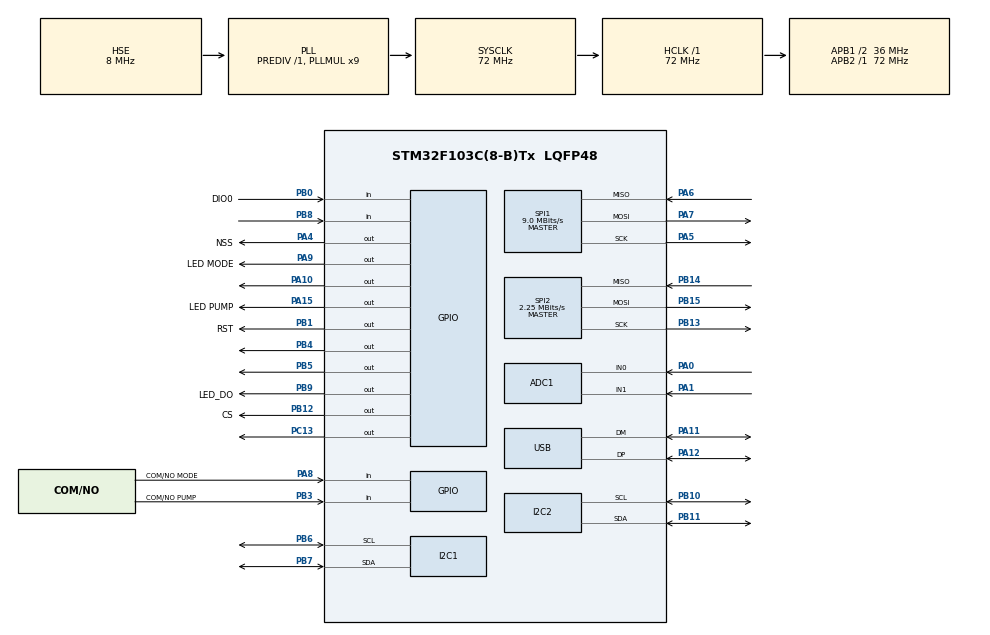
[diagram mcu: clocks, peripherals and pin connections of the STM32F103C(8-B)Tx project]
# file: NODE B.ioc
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ADC1.Channel-1\#ChannelRegularConversion=ADC_CHANNEL_0
ADC1.ContinuousConvMode=ENABLE
ADC1.NbrOfConversionFlag=1
ADC1.Rank-1\#ChannelRegularConversion=1
ADC1.SamplingTime-1\#ChannelRegularConversion=ADC_SAMPLETIME_1CYCLE_5
ADC1.master=1
Mcu.Family=STM32F1
Mcu.Name=STM32F103C(8-B)Tx
Mcu.Package=LQFP48
NVIC.PriorityGroup=NVIC_PRIORITYGROUP_4
NVIC.USB_LP_CAN1_RX0_IRQn=true\:0\:0\:false\:false\:true\:false\:true\:true
PA0-WKUP.Signal=ADCx_IN0
PA1.Signal=ADCx_IN1
PA10.Signal=GPIO_Output
PA11.Mode=Device
PA11.Signal=USB_DM
PA12.Mode=Device
PA12.Signal=USB_DP
PA13.Mode=Serial_Wire
PA13.Signal=SYS_JTMS-SWDIO
PA14.Mode=Serial_Wire
PA14.Signal=SYS_JTCK-SWCLK
PA15.GPIO_Label=LED PUMP
PA15.PinState=GPIO_PIN_SET
PA15.Signal=GPIO_Output
PA4.GPIO_Label=NSS
PA4.PinState=GPIO_PIN_SET
PA4.Signal=GPIO_Output
PA5.Mode=Full_Duplex_Master
PA5.Signal=SPI1_SCK
PA6.Mode=Full_Duplex_Master
PA6.Signal=SPI1_MISO
PA7.Mode=Full_Duplex_Master
PA7.Signal=SPI1_MOSI
PA8.GPIO_Label=COM/NO MODE
PA8.GPIO_PuPd=GPIO_PULLUP
PA8.Signal=GPIO_Input
PA9.GPIO_Label=LED MODE
PA9.PinState=GPIO_PIN_SET
PA9.Signal=GPIO_Output
PB0.GPIO_Label=DIO0
PB0.GPIO_PuPd=GPIO_PULLDOWN
PB0.Signal=GPIO_Input
PB1.GPIO_Label=RST
PB1.GPIO_Speed=GPIO_SPEED_FREQ_LOW
PB1.PinState=GPIO_PIN_SET
PB1.Signal=GPIO_Output
PB10.Mode=I2C
PB10.Signal=I2C2_SCL
PB11.Mode=I2C
PB11.Signal=I2C2_SDA
PB12.GPIO_Label=CS
PB12.GPIO_Speed=GPIO_SPEED_FREQ_HIGH
PB12.PinState=GPIO_PIN_SET
PB12.Signal=GPIO_Output
PB13.Mode=Full_Duplex_Master
PB13.Signal=SPI2_SCK
PB14.Mode=Full_Duplex_Master
PB14.Signal=SPI2_MISO
PB15.Mode=Full_Duplex_Master
PB15.Signal=SPI2_MOSI
PB3.GPIO_Label=COM/NO PUMP
PB3.GPIO_PuPd=GPIO_PULLUP
PB3.Signal=GPIO_Input
PB4.Signal=GPIO_Output
PB5.PinState=GPIO_PIN_SET
PB5.Signal=GPIO_Output
PB6.Mode=I2C
PB6.Signal=I2C1_SCL
PB7.Mode=I2C
PB7.Signal=I2C1_SDA
PB8.GPIO_PuPd=GPIO_PULLUP
PB8.Signal=GPIO_Input
PB9.GPIO_Label=LED_DO
PB9.Signal=GPIO_Output
PC13-TAMPER-RTC.PinState=GPIO_PIN_SET
PC13-TAMPER-RTC.Signal=GPIO_Output
PC14-OSC32_IN.Mode=LSE-External-Oscillator
PC14-OSC32_IN.Signal=RCC_OSC32_IN
PC15-OSC32_OUT.Mode=LSE-External-Oscillator
PC15-OSC32_OUT.Signal=RCC_OSC32_OUT
PD0-OSC_IN.Mode=HSE-External-Oscillator
PD0-OSC_IN.Signal=RCC_OSC_IN
PD1-OSC_OUT.Mode=HSE-External-Oscillator
PD1-OSC_OUT.Signal=RCC_OSC_OUT
ProjectManager.HeapSize=0x200
ProjectManager.StackSize=0x400
ProjectManager.TargetToolchain=MDK-ARM V5.32
RCC.ADCPresc=RCC_ADCPCLK2_DIV6
RCC.AHBFreq_Value=72000000
RCC.APB1CLKDivider=RCC_HCLK_DIV2
RCC.APB1Freq_Value=36000000
RCC.APB1TimFreq_Value=72000000
RCC.APB2Freq_Value=72000000
RCC.APB2TimFreq_Value=72000000
RCC.HCLKFreq_Value=72000000
RCC.PLLMUL=RCC_PLL_MUL9
RCC.SYSCLKFreq_VALUE=72000000
RCC.SYSCLKSource=RCC_SYSCLKSOURCE_PLLCLK
RCC.USBFreq_Value=48000000
RCC.USBPrescaler=RCC_USBCLKSOURCE_PLL_DIV1_5
SH.ADCx_IN0.0=ADC1_IN0,IN0
SH.ADCx_IN1.0=ADC1_IN1,IN1
SPI1.BaudRatePrescaler=SPI_BAUDRATEPRESCALER_8
SPI1.CalculateBaudRate=9.0 MBits/s
SPI1.Direction=SPI_DIRECTION_2LINES
SPI1.Mode=SPI_MODE_MASTER
SPI1.VirtualType=VM_MASTER
SPI2.BaudRatePrescaler=SPI_BAUDRATEPRESCALER_16
SPI2.CalculateBaudRate=2.25 MBits/s
SPI2.Direction=SPI_DIRECTION_2LINES
SPI2.Mode=SPI_MODE_MASTER
SPI2.VirtualType=VM_MASTER
USB_DEVICE.CLASS_NAME_FS=CDC
USB_DEVICE.PRODUCT_STRING_CDC_FS=STM32 Virtual Port
USB_DEVICE.VirtualMode=Cdc
USB_DEVICE.VirtualModeFS=Cdc_FS
VP_RTC_VS_RTC_Activate.Mode=RTC_Enabled
VP_RTC_VS_RTC_Calendar.Mode=RTC_Calendar
VP_USB_DEVICE_VS_USB_DEVICE_CDC_FS.Mode=CDC_FS
board=custom

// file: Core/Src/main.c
/* USER CODE BEGIN Header */
/**
  ******************************************************************************
  * @file           : main.c
  * @brief          : Main program body (Node B, DS3231 @ I2C2, Rain LED @ PB9)
  ******************************************************************************
  * H/W:
  *  - Soil AO  : PA0 (ADC1_IN0)
  *  - Rain AO  : PA1 (ADC1_IN1)
  *  - DHT11    : PB8 (DATA)
  *  - Relay    : PB5 (active-HIGH)
  *  - LED_W    : PB4 (active-HIGH)
  *  - LED_R    : PB9 (active-HIGH)
  *  - TX LED   : PC13 (active-LOW)
  *  - LoRa SX1278: SPI1 (PA5/6/7, PA4 CS), PB1 RESET, PB0 DIO0
  *  - LCD I2C1 : PB6 SCL, PB7 SDA
  *  - DS3231   : I2C2 PB10 SCL2, PB11 SDA2
  *  - USB CDC  : PA11/PA12
  ******************************************************************************
  */
/* USER CODE END Header */

#include "main.h"
#include "adc.h"
#include "i2c.h"
#include "rtc.h"
#include "spi.h"
#include "usb_device.h"
#include "gpio.h"

/* USER CODE BEGIN Includes */
#include "usbd_cdc_if.h"
#include "usbd_cdc.h"
extern USBD_HandleTypeDef hUsbDeviceFS;

#include "DHT.h"
#include "i2c-lcd.h"
#include "LoRa.h"

#include "W25Qxx.h"
#include "flashlog.h"
#include "uplink_patch.h"

#include <stdio.h>
#include <string.h>
#include <math.h>
#include <stdbool.h>
#include <stdint.h>
#include <stdlib.h>
#include <time.h>
/* USER CODE END Includes */

/* USER CODE BEGIN PTD */
typedef enum { ST_IDLE=0, ST_WATERING, ST_COOLDOWN, ST_RAIN_LOCK } state_t;
/* USER CODE END PTD */

/* USER CODE BEGIN PD */

/* ================== NODE IDENT ================== */
#define NODE_ID_STR   "B"   /* Node B */

/*** ACK & RTC options ***/
#ifndef ACK_ENABLE
#define ACK_ENABLE         1
#endif
#ifndef ACK_WINDOW_MS
#define ACK_WINDOW_MS      1500
#endif

/* vao RX som hon sau TX (giam miss ACK) */
#ifndef ACK_GUARD_MS
#define ACK_GUARD_MS       10
#endif

/* gap sau TX (giam chiem kenh qua lau) */
#ifndef TX_POST_GAP_MS
#define TX_POST_GAP_MS     600
#endif

/* Timestamp source */
#define USE_DS3231_TS      1
#define DS3231_I2C_ADDR7   0x68
#define DS3231_HOLDS_LOCAL 1
#ifndef USE_RTC_TS
#define USE_RTC_TS         1
#endif

/* DS3231 giu gio VN local -> epoch_utc tru 7h */
#ifndef TZ_OFFSET_SECS
#define TZ_OFFSET_SECS     (7*3600)
#endif

#ifndef INIT_RTC_ONCE
#define INIT_RTC_ONCE      0
#endif

/* ---- Set DS3231 once (safe) ---- */
#define SET_DS3231_ONCE      1
#define DS3231_INIT_Y        2025
#define DS3231_INIT_M        11
#define DS3231_INIT_D        10
#define DS3231_INIT_H        00
#define DS3231_INIT_MIN      59
#define DS3231_INIT_S        00
#define DS3231_BKP_MAGIC     0xD321

/*** Thresholds & timings ***/
#define SOIL_ON_TH            30
#define SOIL_OFF_TH           40
#define RH_BLOCK_TH           95

#define RAIN_LOCK_MIN         1
#define SOAK_ON_MIN           1
#define SOAK_OFF_MIN          1
#define COOLDOWN_MIN          1
#define MAX_ON_TIME_MIN       2

/*** ADC channels ***/
#define SOIL_ADC_CH    ADC_CHANNEL_0   // PA0
#define RAIN_ADC_CH    ADC_CHANNEL_1   // PA1

/*** ADC mapping ***/
#define SOIL_ADC_DRY   0x0F44
#define SOIL_ADC_WET   0x07F7
#define SOIL_SMOOTH_N  8

#define RAIN_ADC_DRY   0x0F90
#define RAIN_ADC_WET   0x0679
#define RAIN_SMOOTH_N  4
#define RAIN_SAMPLE_MS 100
#define RAIN_WET_THR_PCT 55
#define RAIN_DEB_TICKS   3

/*** GPIO helpers (REL/LED) ***/
#define RELAY_GPIO_Port GPIOB
#define RELAY_Pin       GPIO_PIN_5
#define RELAY_ON()      HAL_GPIO_WritePin(RELAY_GPIO_Port, RELAY_Pin, GPIO_PIN_SET)
#define RELAY_OFF()     HAL_GPIO_WritePin(RELAY_GPIO_Port, RELAY_Pin, GPIO_PIN_RESET)

#define LEDW_Port GPIOB
#define LEDW_Pin  GPIO_PIN_4
#define LEDR_Port GPIOB
#define LEDR_Pin  GPIO_PIN_9
#define LEDW_ON()  HAL_GPIO_WritePin(LEDW_Port, LEDW_Pin, GPIO_PIN_SET)
#define LEDW_OFF() HAL_GPIO_WritePin(LEDW_Port, LEDW_Pin, GPIO_PIN_RESET)
#define LEDR_ON()  HAL_GPIO_WritePin(LEDR_Port, LEDR_Pin, GPIO_PIN_SET)
#define LEDR_OFF() HAL_GPIO_WritePin(LEDR_Port, LEDR_Pin, GPIO_PIN_RESET)

/*** TX LED (PC13 active-LOW) ***/
#define TXLED_Port GPIOC
#define TXLED_Pin  GPIO_PIN_13
#define TXLED_ON()  HAL_GPIO_WritePin(TXLED_Port, TXLED_Pin, GPIO_PIN_RESET)
#define TXLED_OFF() HAL_GPIO_WritePin(TXLED_Port, TXLED_Pin, GPIO_PIN_SET)

/*** LoRa pins ***/
extern SPI_HandleTypeDef hspi1;
extern SPI_HandleTypeDef hspi2;

#define TRANSMIT_TIMEOUT 2000

/*** LCD EPS ***/
#define EPS_SOIL  1.0f
#define EPS_RAIN  5.0f
#define EPS_TEMP  0.5f
#define EPS_RH    2.0f

/*** Heartbeat ***/
#define HEARTBEAT_MS 4000u

/* jitter tranh trung nhip */
#define HEARTBEAT_JITTER_MS  400u

/* Policy */
#define ONLY_TX_ON_CHANGE   0

/* Debug periods */
#define DEBUG_RAW_EVERY_MS  0
#define FLASHDBG_HEAD_SUMMARY_EVERY_MS 0

/* -------- Buttons (active-LOW) -------- */
#define BTN_MODE_Port  GPIOA
#define BTN_MODE_Pin   GPIO_PIN_8
#define BTN_PUMP_Port  GPIOB
#define BTN_PUMP_Pin   GPIO_PIN_3
static inline uint8_t BTN_MODE_PRESSED(void){ return HAL_GPIO_ReadPin(BTN_MODE_Port, BTN_MODE_Pin) == GPIO_PIN_RESET; }
static inline uint8_t BTN_PUMP_PRESSED(void){ return HAL_GPIO_ReadPin(BTN_PUMP_Port, BTN_PUMP_Pin) == GPIO_PIN_RESET; }

/* -------- Status LEDs (active-LOW) -------- */
#define LED_MODE_Port  GPIOA
#define LED_MODE_Pin   GPIO_PIN_9
#define LED_PUMP_Port  GPIOA
#define LED_PUMP_Pin   GPIO_PIN_15
#define LED_MODE_ON()   HAL_GPIO_WritePin(LED_MODE_Port, LED_MODE_Pin, GPIO_PIN_RESET)
#define LED_MODE_OFF()  HAL_GPIO_WritePin(LED_MODE_Port, LED_MODE_Pin, GPIO_PIN_SET)
#define LED_PUMP_ON()   HAL_GPIO_WritePin(LED_PUMP_Port, LED_PUMP_Pin, GPIO_PIN_RESET)
#define LED_PUMP_OFF()  HAL_GPIO_WritePin(LED_PUMP_Port, LED_PUMP_Pin, GPIO_PIN_SET)

/* USER CODE END PD */

/* USER CODE BEGIN PM */
#define MIN_TO_MS(x) ((x) * 60UL * 1000UL)
static inline uint32_t now_ms(void){ return HAL_GetTick(); }

/* ============ LECH PHA NODE B (KHAC NODE A) ============ */
/* offset 900..2900ms theo UID => Node B khong phat trung nhip voi Node A */
static inline uint32_t hb_phase_offset_ms(void){
  uint32_t uid = (uint32_t)HAL_GetUIDw0() ^ (uint32_t)HAL_GetUIDw1() ^ (uint32_t)HAL_GetUIDw2();
  return 900u + (uid % 2000u);
}
/* USER CODE END PM */

/* USER CODE BEGIN PV */
static volatile state_t state = ST_IDLE;
static state_t state_prev = ST_IDLE;

static volatile uint32_t t_onStart=0, t_coolStart=0, t_rainStart=0;
static const uint32_t RAIN_LOCK_MS   = MIN_TO_MS(RAIN_LOCK_MIN);
static const uint32_t SOAK_ON_MS     = MIN_TO_MS(SOAK_ON_MIN);
static const uint32_t SOAK_OFF_MS    = MIN_TO_MS(SOAK_OFF_MIN);
static const uint32_t COOLDOWN_MS    = MIN_TO_MS(COOLDOWN_MIN);
static const uint32_t MAX_ON_TIME_MS = MIN_TO_MS(MAX_ON_TIME_MIN);

static volatile float   g_soil_percent=NAN, g_rain_percent=NAN, g_temp_c=NAN, g_rh=NAN;
static volatile uint8_t g_rain=0, dht_fault=0;
static volatile int8_t  rain_integrator=0;

static char  lcd_cache[4][21];
static float prev_soil=NAN, prev_rainpct=NAN, prev_t=NAN, prev_rh=NAN;
static int   prev_pump=-1;

typedef struct { uint8_t left; uint16_t on_ms, off_ms; uint8_t phase_on; uint32_t t; } blink_t;
static blink_t txblink = {0};

static LoRa lora;
static volatile uint32_t seq = 0, tx_count = 0;
static volatile uint32_t next_hb_due = 0;

static float   snap_soil=NAN, snap_rainpct=NAN, snap_t=NAN, snap_rh=NAN;
static int     snap_rain=-1, snap_pump=-1, snap_dht=-1;

static uint32_t rng_state = 0x12345678;

static char json_no_crc[208];

static volatile uint32_t t_rain_last = 0;
static volatile uint32_t t_meas_last = 0;

#if DEBUG_RAW_EVERY_MS > 0
static uint32_t t_dbg_last  = 0;
#endif
#if FLASHDBG_HEAD_SUMMARY_EVERY_MS > 0
static uint32_t t_flash_head_dbg_last = 0;
#endif

static volatile uint16_t dbg_soil_adc = 0;
static volatile uint16_t dbg_rain_adc = 0;

static uint32_t g_w25_id = 0;
static uint8_t g_sync_word = 0x34;

extern I2C_HandleTypeDef hi2c2;

/* ===================== TX MANAGER (NON-BLOCKING) ===================== */
#define TX_ITEM_MAX   240
#define TXQ_SIZE      6

typedef struct {
  uint8_t  used;
  uint8_t  from_flash;      // 1: replay tu flash
  uint8_t  log_type;        // LOG_TYPE_DATA / LOG_TYPE_EVENT
  uint32_t ts_meta;
  uint32_t seq_expected;
  uint16_t len;
  char     buf[TX_ITEM_MAX];
} tx_item_t;

static tx_item_t txq[TXQ_SIZE];
static uint8_t txq_head=0, txq_tail=0, txq_cnt=0;

typedef enum { TXS_IDLE=0, TXS_WAIT_GUARD, TXS_WAIT_ACK, TXS_COOLDOWN } tx_state_t;
static tx_state_t txs = TXS_IDLE;

static tx_item_t cur_tx;
static uint32_t  tx_guard_until = 0;
static uint32_t  tx_ack_deadline = 0;
static uint32_t  tx_cool_until = 0;

/* Replay backoff neu fail */
static uint32_t  replay_backoff_until = 0;

/* Control mode */
typedef enum { MODE_AUTO = 0, MODE_MANUAL = 1 } ctrl_mode_t;
static volatile ctrl_mode_t g_mode = MODE_AUTO;
static volatile uint32_t    t_last_cmd_ms = 0;
#define MANUAL_TIMEOUT_MS   (60u * 1000u)

/* USER CODE END PV */

void SystemClock_Config(void);

/* USER CODE BEGIN PFP */
static uint32_t rtc_epoch_utc(void);
static int      json_extract_int(const char* json, const char* key, int defval);
static void     RTC_SetOnce_IfNeeded(void);

static inline uint8_t bcd2bin(uint8_t x){ return (uint8_t)(x - 6*(x>>4)); }
static inline uint8_t bin2bcd(uint8_t x){ return (uint8_t)(x + 6*(x/10)); }
static HAL_StatusTypeDef ds3231_read_regs(uint8_t reg, uint8_t *dst, uint8_t len);
static HAL_StatusTypeDef ds3231_write_regs(uint8_t reg, const uint8_t *src, uint8_t len);
static int ds3231_get_tm(struct tm *out);
static int ds3231_set_tm(const struct tm *t);
static int ds3231_read_status(uint8_t *st);
static void ds3231_clear_osf(void);
static void DS3231_SetOnce_Safe(void);

static uint32_t days_from_civil(int y, unsigned m, unsigned d);
static uint32_t tm_to_epoch_utc(const struct tm* t);

static void civil_from_days(int z, int *y, unsigned *m, unsigned *d);
static void iso_from_tm_local(const struct tm* t, char *out, size_t n);

static void cdc_send_line(const char* s);
static uint16_t crc16_ccitt(const uint8_t *data, size_t len);

static uint16_t adc_read_single(uint32_t ch);
static uint16_t adc_read_avg(uint32_t ch, int n);
static float soil_adc_to_percent(uint16_t adc);
static float rain_adc_to_wetpct(uint16_t adc);
static void  update_rain_adc_debounce(void);
static void  update_soil_and_dht(void);

static inline void pad20(char* dst, const char* src);
static inline void center20(char* dst, const char* src);
static inline void lcd_put_line_if_changed(uint8_t row, const char* s20);
static int  changed_enough(void);
static inline void snapshot_prev(void);
static void lcd_boot(void);
static void lcd_show(void);
static void dot_to_comma(char* s);

static void txled_start(uint8_t times, uint16_t on_ms, uint16_t off_ms);
static void txled_task(void);

static void lora_init_params(void);
static void send_meas_request(bool forced);
static void send_event_request(const char* ev);
static inline void snapshot_meas(void);
static inline int  changed_for_meas(void);
static void heartbeat_kick_task(void);

static uint8_t rh_allows_watering(void);
static void fsm_step(void);

static uint32_t rng_next(void);

static void diag_dump_raw(void);

static const char* log_type_str(uint8_t type);
static void flash_debug_head_once(void);

static const char* sf_to_str(uint8_t sf);
static const char* bw_to_str(uint8_t bw);
static const char* cr_to_str(uint8_t cr);
static void        log_rf_config(void);

static void apply_cmd_from_ack(const char* json);

static void buttons_task(void);
static void leds_update(void);

static uint8_t txq_push(const char* payload, uint16_t len, uint32_t seq_expected,
                        uint32_t ts_meta, uint8_t log_type, uint8_t from_flash);
static uint8_t txq_pop(tx_item_t* out);
static uint8_t txq_is_full(void);
static uint8_t txq_is_empty(void);

static void tx_start_current(const tx_item_t* it);
static void tx_finish_success(void);
static void tx_finish_fail(void);
static void tx_task(void);
static uint8_t tx_handle_rx_and_check_ack(uint32_t expected_seq);
/* USER CODE END PFP */

/* USER CODE BEGIN 0 */

static void cdc_send_line(const char* s){
  if(!s) return;
  static char buf[256];
  int n = snprintf(buf, sizeof(buf), "%s\r\n", s);
  if(n <= 0) return;

  uint32_t t0 = HAL_GetTick();
  while (HAL_GetTick() - t0 < 50) {
    if (CDC_Transmit_FS((uint8_t*)buf, (uint16_t)n) == USBD_OK) {
      USBD_CDC_HandleTypeDef *hcdc =
        (USBD_CDC_HandleTypeDef*)hUsbDeviceFS.pClassData;

      if (hcdc) {
        uint32_t t1 = HAL_GetTick();
        while (hcdc->TxState && (HAL_GetTick() - t1) < 20) { }
      }
      break;
    }
    HAL_Delay(2);
  }
}

static uint16_t crc16_ccitt(const uint8_t *data, size_t len){
  uint16_t crc = 0xFFFF;
  for(size_t i=0;i<len;i++){
    crc ^= (uint16_t)data[i] << 8;
    for(int b=0;b<8;b++) crc = (crc & 0x8000) ? (uint16_t)((crc<<1) ^ 0x1021) : (uint16_t)(crc<<1);
  }
  return crc;
}

/*** DS3231 over I2C2 ***/
static HAL_StatusTypeDef ds3231_read_regs(uint8_t reg, uint8_t *dst, uint8_t len){
  uint16_t a = (DS3231_I2C_ADDR7 << 1);
  if (HAL_I2C_Master_Transmit(&hi2c2, a, &reg, 1, 50) != HAL_OK) return HAL_ERROR;
  if (HAL_I2C_Master_Receive(&hi2c2, a, dst, len, 50) != HAL_OK)  return HAL_ERROR;
  return HAL_OK;
}
static HAL_StatusTypeDef ds3231_write_regs(uint8_t reg, const uint8_t *src, uint8_t len){
  uint16_t a = (DS3231_I2C_ADDR7 << 1);
  uint8_t buf[16];
  if (len + 1 > sizeof(buf)) return HAL_ERROR;
  buf[0] = reg;
  memcpy(&buf[1], src, len);
  return HAL_I2C_Master_Transmit(&hi2c2, a, buf, len+1, 50);
}
static int ds3231_get_tm(struct tm *out){
  uint8_t b[7];
  if (ds3231_read_regs(0x00, b, 7) != HAL_OK) return 0;
  memset(out, 0, sizeof(*out));
  out->tm_sec  = bcd2bin(b[0] & 0x7F);
  out->tm_min  = bcd2bin(b[1] & 0x7F);
  out->tm_hour = bcd2bin(b[2] & 0x3F);
  out->tm_mday = bcd2bin(b[4] & 0x3F);
  out->tm_mon  = bcd2bin(b[5] & 0x1F) - 1;
  out->tm_year = bcd2bin(b[6]) + 100;
  return 1;
}
static int ds3231_set_tm(const struct tm *t){
  uint8_t b[7];
  b[0] = bin2bcd((uint8_t)t->tm_sec);
  b[1] = bin2bcd((uint8_t)t->tm_min);
  b[2] = bin2bcd((uint8_t)t->tm_hour) & 0x3F;
  b[3] = 1;
  b[4] = bin2bcd((uint8_t)t->tm_mday);
  b[5] = bin2bcd((uint8_t)(t->tm_mon + 1));
  b[6] = bin2bcd((uint8_t)((t->tm_year + 1900) - 2000));
  return (ds3231_write_regs(0x00, b, 7) == HAL_OK) ? 1 : 0;
}

static int ds3231_read_status(uint8_t *st){
  return (ds3231_read_regs(0x0F, st, 1) == HAL_OK) ? 1 : 0;
}
static void ds3231_clear_osf(void){
  uint8_t st;
  if (!ds3231_read_status(&st)) return;
  st &= ~(1u<<7);
  (void)ds3231_write_regs(0x0F, &st, 1);
}

static void DS3231_SetOnce_Safe(void){
#if SET_DS3231_ONCE
  uint16_t bkp = HAL_RTCEx_BKUPRead(&hrtc, RTC_BKP_DR2);

  struct tm now; int have = ds3231_get_tm(&now);
  int year = have ? (1900 + now.tm_year) : 0;

  uint8_t st = 0; int have_st = ds3231_read_status(&st);
  int osf = (have_st && (st & 0x80)) ? 1 : 0;

  int need_set = 0;
  if (!have || year < 2024) need_set = 1;
  if (osf) need_set = 1;

  if (need_set){
    struct tm t = {0};
    t.tm_year = DS3231_INIT_Y - 1900;
    t.tm_mon  = DS3231_INIT_M - 1;
    t.tm_mday = DS3231_INIT_D;
    t.tm_hour = DS3231_INIT_H;
    t.tm_min  = DS3231_INIT_MIN;
    t.tm_sec  = DS3231_INIT_S;

    if (ds3231_set_tm(&t)) {
      ds3231_clear_osf();
      HAL_RTCEx_BKUPWrite(&hrtc, RTC_BKP_DR2, DS3231_BKP_MAGIC);
      cdc_send_line("DS3231 set OK (safe).");
    } else {
      cdc_send_line("DS3231 set FAIL!");
    }
  } else {
    if (bkp != DS3231_BKP_MAGIC)
      HAL_RTCEx_BKUPWrite(&hrtc, RTC_BKP_DR2, DS3231_BKP_MAGIC);
    cdc_send_line("DS3231 keep existing.");
  }
#else
  (void)ds3231_clear_osf;
#endif
}

/*** ADC utils & mapping ***/
static uint16_t adc_read_single(uint32_t ch){
  ADC_ChannelConfTypeDef s={0};
  s.Channel=ch; s.Rank=ADC_REGULAR_RANK_1; s.SamplingTime=ADC_SAMPLETIME_71CYCLES_5;
  HAL_ADC_ConfigChannel(&hadc1,&s);
  HAL_ADC_Start(&hadc1); HAL_ADC_PollForConversion(&hadc1,10);
  uint16_t v=HAL_ADC_GetValue(&hadc1);
  HAL_ADC_Stop(&hadc1); return v;
}
static uint16_t adc_read_avg(uint32_t ch, int n){
  uint32_t acc=0; for(int i=0;i<n;i++) acc+=adc_read_single(ch);
  return (uint16_t)(acc/n);
}
static float soil_adc_to_percent(uint16_t adc){
  float den = (float)SOIL_ADC_DRY - (float)SOIL_ADC_WET;
  if (den <= 0.0f) return NAN;
  float pct = ((float)SOIL_ADC_DRY - (float)adc) * 100.0f / den;
  if (pct < 0.0f)   pct = 0.0f;
  if (pct > 100.0f) pct = 100.0f;
  return pct;
}
static float rain_adc_to_wetpct(uint16_t adc){
  float num=(float)adc-(float)RAIN_ADC_WET, den=(float)RAIN_ADC_DRY-(float)RAIN_ADC_WET;
  if(den==0) return NAN;
  float pct_dry=100.0f*num/den; float pct_wet=100.0f-pct_dry;
  if(pct_wet<0)pct_wet=0; if(pct_wet>100)pct_wet=100; return pct_wet;
}
static void update_rain_adc_debounce(void){
  uint16_t adc = adc_read_avg(RAIN_ADC_CH, RAIN_SMOOTH_N);
  dbg_rain_adc = adc;
  g_rain_percent = rain_adc_to_wetpct(adc);
  uint8_t wet_now = (!isnan(g_rain_percent) && g_rain_percent >= RAIN_WET_THR_PCT) ? 1 : 0;
  rain_integrator += wet_now ? 1 : -1;
  if(rain_integrator<0) rain_integrator=0;
  if(rain_integrator>RAIN_DEB_TICKS) rain_integrator=RAIN_DEB_TICKS;
  g_rain = (rain_integrator >= RAIN_DEB_TICKS) ? 1 : 0;
}
static void update_soil_and_dht(void){
  uint16_t rs = adc_read_avg(SOIL_ADC_CH, SOIL_SMOOTH_N);
  dbg_soil_adc = rs;
  g_soil_percent = soil_adc_to_percent(rs);

  DHT_DataTypedef d = (DHT_DataTypedef){0};
  DHT_GetData(&d);
  if (d.Temperature==0 && d.Humidity==0) dht_fault = 1;
  else { dht_fault = 0; g_temp_c = d.Temperature; g_rh = d.Humidity; }
}

/*** LCD helpers ***/
static inline void pad20(char* dst, const char* src){
  size_t n = strlen(src); if(n>20) n=20; memcpy(dst, src, n);
  for(size_t i=n;i<20;i++) dst[i]=' '; dst[20]='\0';
}
static inline void center20(char* dst, const char* src){
  size_t n = strlen(src); if(n>20) n=20;
  size_t left = (20 - n)/2;
  for(size_t i=0;i<left;i++) dst[i]=' ';
  memcpy(dst+left, src, n);
  for(size_t j=left+n;j<20;j++) dst[j]=' ';
  dst[20]='\0';
}
static inline void lcd_put_line_if_changed(uint8_t row, const char* s20){
  if (strncmp(lcd_cache[row], s20, 20) != 0){
    lcd_put_cur(row,0); lcd_send_string(s20);
    strncpy(lcd_cache[row], s20, 20); lcd_cache[row][20]='\0';
  }
}
static int changed_enough(void){
  int ch=0;
  if(isnan(prev_soil) || fabsf(g_soil_percent - prev_soil) > EPS_SOIL) ch=1;
  if(isnan(prev_rainpct) || fabsf(g_rain_percent - prev_rainpct) > EPS_RAIN) ch=1;
  if(!dht_fault){
    if(isnan(prev_t)  || fabsf(g_temp_c - prev_t) > EPS_TEMP) ch=1;
    if(isnan(prev_rh) || fabsf(g_rh - prev_rh)     > EPS_RH)  ch=1;
  }
  if(state_prev != state) ch=1;
  int pump = (state==ST_WATERING);
  if(prev_pump != pump) ch=1;
  return ch;
}
static inline void snapshot_prev(void){
  prev_soil = g_soil_percent; prev_rainpct = g_rain_percent;
  prev_t = g_temp_c; prev_rh = g_rh; prev_pump = (state==ST_WATERING);
  state_prev = state;
}
static void dot_to_comma(char* s){ for(char* p=s; *p; ++p) if(*p=='.') *p=','; }
static void lcd_boot(void){
  lcd_init();
  HAL_Delay(30);
  lcd_clear();
  lcd_put_cur(0,0); lcd_send_string("NODE B - IRRIGATION");
  lcd_put_cur(1,0); lcd_send_string("Booting...");
}
static void lcd_show(void){
  char tmp[48], ln20[21];

  center20(ln20, "NODE B"); lcd_put_line_if_changed(0, ln20);

  snprintf(tmp,sizeof(tmp),"S:%5.2f%%  R:%5.2f%%",
           isnan(g_soil_percent)?0.0f:g_soil_percent,
           isnan(g_rain_percent)?0.0f:g_rain_percent);
  dot_to_comma(tmp); pad20(ln20,tmp); lcd_put_line_if_changed(1, ln20);

  if(!dht_fault) {
    snprintf(tmp,sizeof(tmp),"T:%5.2fC RH:%5.2f%%",
             isnan(g_temp_c)?0.0f:g_temp_c,
             isnan(g_rh)?0.0f:g_rh);
    dot_to_comma(tmp);
  } else {
    strcpy(tmp,"T/RH: -- (DHT ERR)  ");
  }
  pad20(ln20,tmp); lcd_put_line_if_changed(2, ln20);

  const char* st = (state==ST_IDLE)?"IDLE":(state==ST_WATERING)?"WATERING":
                 (state==ST_COOLDOWN)?"COOLDOWN":"RAINLOCK";
  const char* p  = (state==ST_WATERING) ? "ON" : "OFF";
  const char* md = (g_mode==MODE_MANUAL) ? "M" : "A";
  snprintf(tmp,sizeof(tmp),"C:%-8s P:%-3s M:%-1s", st, p, md);
  pad20(ln20,tmp); lcd_put_line_if_changed(3, ln20);
}

/*** LED TX non-blocking ***/
static void txled_start(uint8_t times, uint16_t on_ms, uint16_t off_ms){
  txblink.left = times; txblink.on_ms = on_ms; txblink.off_ms = off_ms;
  txblink.phase_on = 1; txblink.t = now_ms(); TXLED_ON();
}
static void txled_task(void){
  if (txblink.left == 0) return;
  uint32_t dt = now_ms() - txblink.t;
  if (txblink.phase_on && dt >= txblink.on_ms) {
    TXLED_OFF(); txblink.phase_on = 0; txblink.t = now_ms();
  } else if (!txblink.phase_on && dt >= txblink.off_ms) {
    txblink.left--; if (txblink.left) { TXLED_ON(); txblink.phase_on = 1; txblink.t = now_ms(); }
  }
}

/*** RNG ***/
static uint32_t rng_next(void){ rng_state = 1664525u*rng_state + 1013904223u; return rng_state; }

/*** LoRa init ***/
static void lora_init_params(void){
  lora = newLoRa();
  lora.CS_port   = GPIOA; lora.CS_pin   = GPIO_PIN_4;
  lora.reset_port= GPIOB; lora.reset_pin= GPIO_PIN_1;
  lora.DIO0_port = GPIOB; lora.DIO0_pin = GPIO_PIN_0;
  lora.hSPIx     = &hspi1;

  lora.frequency      = 433;
  lora.spredingFactor = SF_9;
  lora.bandWidth      = BW_125KHz;
  lora.crcRate        = CR_4_5;
  lora.power          = POWER_17db;
  lora.overCurrentProtection = 100;
  lora.preamble       = 14;

  uint16_t st = LoRa_init(&lora);
  if (st != LORA_OK) cdc_send_line("ERR: LoRa init");
  else {
    cdc_send_line("LoRa OK");
    int8_t desired_dbm = 17;
    LoRa_setPower_dBm(&lora, desired_dbm);
    char s[32]; snprintf(s, sizeof(s), "TX power = %d dBm", desired_dbm);
    cdc_send_line(s);
  }

  LoRa_setTOMsb_setCRCon(&lora);
  g_sync_word = 0x34;
  LoRa_setSyncWord(&lora, g_sync_word);

  LoRa_startReceiving(&lora);
}

/*** RF config log ***/
static const char* sf_to_str(uint8_t sf){
  switch(sf){
    case SF_7: return "7"; case SF_8: return "8"; case SF_9: return "9";
    case SF_10:return "10";case SF_11:return "11";case SF_12:return "12";
    default:  return "?";
  }
}
static const char* bw_to_str(uint8_t bw){
  switch(bw){
    case BW_7_8KHz:   return "7.8";
    case BW_10_4KHz:  return "10.4";
    case BW_15_6KHz:  return "15.6";
    case BW_20_8KHz:  return "20.8";
    case BW_31_25KHz: return "31.25";
    case BW_41_7KHz:  return "41.7";
    case BW_62_5KHz:  return "62.5";
    case BW_125KHz:   return "125";
    case BW_250KHz:   return "250";
    case BW_500KHz:   return "500";
    default:          return "?";
  }
}
static const char* cr_to_str(uint8_t cr){
  switch(cr){
    case CR_4_5: return "4/5";
    case CR_4_6: return "4/6";
    case CR_4_7: return "4/7";
    case CR_4_8: return "4/8";
    default:     return "?";
  }
}
static void log_rf_config(void){
  char line[128];
  snprintf(line, sizeof(line),
    "RF: freq=%lu MHz SF=%s BW=%s kHz CR=%s SW=0x%02X preamble=%u",
    (unsigned long)lora.frequency,
    sf_to_str(lora.spredingFactor),
    bw_to_str(lora.bandWidth),
    cr_to_str(lora.crcRate),
    (unsigned)g_sync_word,
    (unsigned)lora.preamble);
  cdc_send_line(line);
}

/*** Flash debug ***/
static const char* log_type_str(uint8_t type) {
  switch (type) { case LOG_TYPE_DATA:  return "DATA";
                  case LOG_TYPE_EVENT: return "LOG";
                  default:             return "UNK"; }
}
static void flash_debug_head_once(void) {
  if (Log_Empty()) { cdc_send_line("[FLASH] queue empty"); return; }
  uint8_t  buf[256]; uint16_t len; uint8_t type; uint32_t ts;
  if (!Log_Peek(buf, sizeof(buf)-1, &len, &type, &ts)) {
    cdc_send_line("[FLASH] peek failed"); return;
  }
  buf[len] = '\0';
  char meta[96];
  snprintf(meta, sizeof(meta),"[FLASH HEAD] len=%u type=%s ts=%lu",
           (unsigned)len, log_type_str(type), (unsigned long)ts);
  cdc_send_line(meta);
  cdc_send_line((char*)buf);
}

/*** ISO-8601 helpers ***/
static void civil_from_days(int z, int *y, unsigned *m, unsigned *d){
  z += 719468;
  const int era = (z >= 0 ? z : z - 146096) / 146097;
  const unsigned doe = (unsigned)(z - era * 146097);
  const unsigned yoe = (doe - doe/1460 + doe/36524 - doe/146096) / 365;
  const int y2 = (int)yoe + era * 400;
  const unsigned doy = doe - (365 * yoe + yoe/4 - yoe/100);
  const unsigned mp  = (5 * doy + 2) / 153;
  *d  = doy - (153 * mp + 2) / 5 + 1;
  *m  = mp + (mp < 10 ? 3 : -9);
  *y  = y2 + (*m <= 2);
}
static void iso_from_tm_local(const struct tm* t, char *out, size_t n){
  snprintf(out, n, "%04d-%02d-%02d %02d:%02d:%02d",
           1900 + t->tm_year, t->tm_mon + 1, t->tm_mday,
           t->tm_hour, t->tm_min, t->tm_sec);
}

/* === Time helpers === */
static uint32_t days_from_civil(int y, unsigned m, unsigned d){
  y -= (m <= 2);
  const int era = (y >= 0 ? y : y - 399) / 400;
  const unsigned yoe = (unsigned)(y - era * 400);
  const unsigned doy = (153 * (m + (m > 2 ? -3 : 9)) + 2) / 5 + d - 1;
  const unsigned doe = yoe * 365 + yoe / 4 - yoe / 100 + doy;
  return (uint32_t)(era * 146097 + (int)doe - 719468);
}
static uint32_t tm_to_epoch_utc(const struct tm* t){
  uint32_t days = days_from_civil(1900 + t->tm_year, (unsigned)(t->tm_mon+1), (unsigned)t->tm_mday);
  return days*86400u + (uint32_t)t->tm_hour*3600u + (uint32_t)t->tm_min*60u + (uint32_t)t->tm_sec;
}
static uint32_t rtc_epoch_utc(void){
#if USE_DS3231_TS
  struct tm t;
  if (ds3231_get_tm(&t)){
    uint32_t secs = tm_to_epoch_utc(&t);
#if DS3231_HOLDS_LOCAL && (TZ_OFFSET_SECS != 0)
    if (secs >= (uint32_t)TZ_OFFSET_SECS) secs -= (uint32_t)TZ_OFFSET_SECS;
#endif
    return secs;
  }
#endif
#if USE_RTC_TS
  RTC_TimeTypeDef rt; RTC_DateTypeDef rd;
  HAL_RTC_GetTime(&hrtc, &rt, RTC_FORMAT_BIN);
  HAL_RTC_GetDate(&hrtc, &rd, RTC_FORMAT_BIN);
  int year = 2000 + rd.Year;
  unsigned mon = rd.Month;
  unsigned day = rd.Date;
  uint32_t days = days_from_civil(year, mon, day);
  uint32_t secs = days*86400u + (uint32_t)rt.Hours*3600u + (uint32_t)rt.Minutes*60u + (uint32_t)rt.Seconds;
#if (TZ_OFFSET_SECS != 0)
  if (secs >= (uint32_t)TZ_OFFSET_SECS) secs -= (uint32_t)TZ_OFFSET_SECS;
#endif
  return secs;
#else
  return (now_ms()/1000u);
#endif
}
static int json_extract_int(const char* json, const char* key, int defval){
  if(!json || !key) return defval;
  const char* p = strstr(json, key);
  if(!p) return defval;
  p = strchr(p, ':'); if(!p) return defval; ++p;
  while (*p==' ' || *p=='\t' || *p=='\r' || *p=='\n') ++p;
  int sign = 1; if(*p=='-'){ sign=-1; ++p; }
  int val = 0; int any=0;
  while(*p>='0' && *p<='9'){ val = val*10 + (*p - '0'); ++p; any=1; }
  if(!any) return defval;
  return sign*val;
}

/* ==== Apply CMD from ACK JSON ==== */
static void apply_cmd_from_ack(const char* json)
{
    if (!json) return;

    int any_cmd_applied = 0;

    int pump     = json_extract_int(json, "\"pump\"", -2);
    int mode_num = json_extract_int(json, "\"mode\"", -1);
    int override = json_extract_int(json, "\"override\"", 0);
    (void)override;

    if (pump != -2) {
        g_mode = MODE_MANUAL;

        if (pump > 0) {
            RELAY_ON();
            state      = ST_WATERING;
            t_onStart  = now_ms();
            cdc_send_line("[CMD] pump=1 -> RELAY_ON");
        } else {
            RELAY_OFF();
            if (state == ST_WATERING || state == ST_IDLE) {
                state       = ST_COOLDOWN;
                t_coolStart = now_ms();
            }
            cdc_send_line("[CMD] pump=0 -> RELAY_OFF");
        }
        any_cmd_applied = 1;
    }

    if (mode_num == 0 || strstr(json, "\"mode\":\"AUTO\"")) {
        g_mode = MODE_AUTO;
        cdc_send_line("[CMD] mode=AUTO");
        any_cmd_applied = 1;
    } else if (mode_num == 1 || strstr(json, "\"mode\":\"MANUAL\"")) {
        g_mode = MODE_MANUAL;
        cdc_send_line("[CMD] mode=MANUAL");
        any_cmd_applied = 1;
    }

    if (any_cmd_applied) {
        t_last_cmd_ms = now_ms();
        if (!(mode_num == 0 || strstr(json, "\"mode\":\"AUTO\""))) {
            g_mode = MODE_MANUAL;
        }
        snapshot_prev();
        lcd_show();
        leds_update();
    }
}

/* ===================== TX QUEUE ===================== */
static uint8_t txq_is_full(void){ return (txq_cnt >= TXQ_SIZE); }
static uint8_t txq_is_empty(void){ return (txq_cnt == 0); }

static uint8_t txq_push(const char* payload, uint16_t len, uint32_t seq_expected,
                        uint32_t ts_meta, uint8_t log_type, uint8_t from_flash)
{
  if (!payload || len == 0) return 0;
  if (len >= TX_ITEM_MAX) return 0;
  if (txq_is_full()) return 0;

  tx_item_t* it = &txq[txq_tail];
  memset(it, 0, sizeof(*it));
  it->used = 1;
  it->from_flash = from_flash;
  it->log_type = log_type;
  it->ts_meta = ts_meta;
  it->seq_expected = seq_expected;
  it->len = len;
  memcpy(it->buf, payload, len);
  it->buf[len] = '\0';

  txq_tail = (uint8_t)((txq_tail + 1) % TXQ_SIZE);
  txq_cnt++;
  return 1;
}

static uint8_t txq_pop(tx_item_t* out)
{
  if (!out) return 0;
  if (txq_is_empty()) return 0;

  tx_item_t* it = &txq[txq_head];
  *out = *it;

  memset(it, 0, sizeof(*it));
  txq_head = (uint8_t)((txq_head + 1) % TXQ_SIZE);
  txq_cnt--;
  return 1;
}

/* ===================== TX MANAGER (NON-BLOCKING) ===================== */
static void tx_start_current(const tx_item_t* it)
{
  if (!it || it->len == 0) return;

  txled_start(1,60,60);

  uint8_t ok = LoRa_transmit(&lora, (uint8_t*)it->buf, (uint8_t)it->len, TRANSMIT_TIMEOUT);

  cdc_send_line(it->buf);

  if (!ok) {
    tx_finish_fail();
    return;
  }

#if ACK_ENABLE
  LoRa_startReceiving(&lora);
  tx_guard_until = now_ms() + ACK_GUARD_MS;
  tx_ack_deadline = now_ms() + ACK_WINDOW_MS;
  txs = TXS_WAIT_GUARD;
#else
  tx_finish_success();
#endif
}

static void tx_finish_success(void)
{
  if (cur_tx.from_flash) {
    Log_Drop();
  } else {
    seq++;
  }
  tx_count++;
  tx_cool_until = now_ms() + TX_POST_GAP_MS;
  txs = TXS_COOLDOWN;
}

static void tx_finish_fail(void)
{
  if (!cur_tx.from_flash) {
    Log_Push((const uint8_t*)cur_tx.buf, cur_tx.len, cur_tx.log_type, cur_tx.ts_meta);
  } else {
    replay_backoff_until = now_ms() + 2000u + (rng_next() % 3000u);
  }
  tx_cool_until = now_ms() + TX_POST_GAP_MS;
  txs = TXS_COOLDOWN;
}

static uint8_t tx_handle_rx_and_check_ack(uint32_t expected_seq)
{
  uint8_t rx[128];
  uint8_t n = LoRa_receive(&lora, rx, sizeof(rx) - 1);
  if (n == 0) return 0;

  rx[n] = '\0';
  char line[160];
  int cut = (n > 100) ? 100 : n;
  snprintf(line, sizeof(line), "[ACK RX] len=%u payload=\"%.*s\"", (unsigned)n, cut, (char*)rx);
  cdc_send_line(line);

  int a = json_extract_int((const char*)rx, "\"ack\"", -1);
  int s = json_extract_int((const char*)rx, "\"seq\"", -1);

  if ((a >= 0 && ((uint32_t)a == expected_seq || (uint32_t)a == (expected_seq + 1u))) ||
      (s >= 0 && ((uint32_t)s == expected_seq || (uint32_t)s == (expected_seq + 1u)))) {
    cdc_send_line("[ACK] received");
    if (strstr((const char*)rx, "\"cmd\"")) {
      apply_cmd_from_ack((const char*)rx);
    }
    return 1;
  }
  return 0;
}

static void tx_task(void)
{
  uint32_t now = now_ms();

  if (txs == TXS_COOLDOWN) {
    if ((int32_t)(now - tx_cool_until) >= 0) txs = TXS_IDLE;
    else return;
  }

  if (txs == TXS_WAIT_GUARD) {
    if ((int32_t)(now - tx_guard_until) >= 0) txs = TXS_WAIT_ACK;
    else return;
  }

  if (txs == TXS_WAIT_ACK) {
    if (tx_handle_rx_and_check_ack(cur_tx.seq_expected)) { tx_finish_success(); return; }
    if ((int32_t)(now - tx_ack_deadline) >= 0) { cdc_send_line("[ACK] timeout"); tx_finish_fail(); return; }
    return;
  }

  if (txs != TXS_IDLE) return;
  if ((int32_t)(now - tx_cool_until) < 0) return;

  if (!txq_is_empty()) {
    if (txq_pop(&cur_tx)) tx_start_current(&cur_tx);
    return;
  }

  if (!Log_Empty() && (int32_t)(now - replay_backoff_until) >= 0) {
    uint8_t  buf[TX_ITEM_MAX];
    uint16_t len; uint8_t type; uint32_t ts;

    if (Log_Peek(buf, sizeof(buf)-1, &len, &type, &ts)) {
      buf[len] = '\0';
      (void)uplink_set_hist_and_fix_crc((char*)buf, sizeof(buf), 1);

      uint32_t seq_sent = (uint32_t)json_extract_int((char*)buf, "\"seq\"", -1);

      if (txq_push((const char*)buf, (uint16_t)strlen((char*)buf), seq_sent, ts, type, 1)) {
        if (txq_pop(&cur_tx)) tx_start_current(&cur_tx);
      }
    }
  }
}

/* ===================== DATA/LOG REQUEST (enqueue) ===================== */
static void send_meas_request(bool forced)
{
  (void)forced;

  const char* st=(state==ST_IDLE)?"IDLE":(state==ST_WATERING)?"WATERING":
                 (state==ST_COOLDOWN)?"COOLDOWN":"RAIN_LOCK";
  int pump=(state==ST_WATERING)?1:0;

  char iso[32] = "1970-01-01 00:00:00";
  uint32_t ts_meta = 0;

  struct tm t;
  if (ds3231_get_tm(&t)) {
    iso_from_tm_local(&t, iso, sizeof(iso));
    ts_meta = tm_to_epoch_utc(&t);
#if DS3231_HOLDS_LOCAL && (TZ_OFFSET_SECS != 0)
    if (ts_meta >= (uint32_t)TZ_OFFSET_SECS) ts_meta -= (uint32_t)TZ_OFFSET_SECS;
#endif
  } else {
    ts_meta = rtc_epoch_utc();
    uint32_t day = ts_meta / 86400u, sec=ts_meta%86400u;
    unsigned hh = sec/3600u, mm=(sec%3600u)/60u, ss=sec%60u;
    int y; unsigned mo, da; civil_from_days((int)day,&y,&mo,&da);
    snprintf(iso, sizeof(iso), "%04d-%02u-%02u %02u:%02u:%02u", y,mo,da,hh,mm,ss);
  }

  uint32_t seq_sent = seq;
  const char* mode_str = (g_mode==MODE_MANUAL) ? "MANUAL" : "AUTO";

  int n = snprintf(json_no_crc, sizeof(json_no_crc),
    "{\"ver\":1,\"node\":\"%s\",\"type\":\"DATA\",\"seq\":%lu,"
    "\"time\":\"%s\",\"soil\":%.2f,\"rainpct\":%.2f,\"rain\":%d,"
    "\"rh\":%.2f,\"t\":%.2f,\"st\":\"%s\",\"pump\":%d,"
    "\"dht_fault\":%d,\"hist\":0,\"mode\":\"%s\"}",
    NODE_ID_STR, (unsigned long)seq_sent, iso,
    g_soil_percent, isnan(g_rain_percent)?-1.0f:g_rain_percent, g_rain,
    isnan(g_rh)?-1.0f:g_rh, isnan(g_temp_c)?-100.0f:g_temp_c,
    st, pump, dht_fault, mode_str);
  if(n<=0 || n >= (int)sizeof(json_no_crc)) return;

  uint16_t crc = crc16_ccitt((const uint8_t*)json_no_crc, (size_t)n);

  char json_final[TX_ITEM_MAX];
  int m = snprintf(json_final, sizeof(json_final),
                   "%.*s,\"crc\":\"%04X\"}", n-1, json_no_crc, crc);
  if (m <= 0 || m >= (int)sizeof(json_final)) return;

  if (!txq_push(json_final, (uint16_t)strlen(json_final), seq_sent, ts_meta, LOG_TYPE_DATA, 0)) {
    cdc_send_line("[TXQ] full, skip meas");
  }
}

static void send_event_request(const char* ev)
{
  if (!ev) return;

  char iso[32] = "1970-01-01 00:00:00";
  uint32_t ts_meta = 0;

  struct tm t;
  if (ds3231_get_tm(&t)) {
    iso_from_tm_local(&t, iso, sizeof(iso));
    ts_meta = tm_to_epoch_utc(&t);
#if DS3231_HOLDS_LOCAL && (TZ_OFFSET_SECS != 0)
    if (ts_meta >= (uint32_t)TZ_OFFSET_SECS) ts_meta -= (uint32_t)TZ_OFFSET_SECS;
#endif
  } else {
    ts_meta = rtc_epoch_utc();
    uint32_t day = ts_meta / 86400u, sec=ts_meta%86400u;
    unsigned hh = sec/3600u, mm=(sec%3600u)/60u, ss=sec%60u;
    int y; unsigned mo, da; civil_from_days((int)day,&y,&mo,&da);
    snprintf(iso, sizeof(iso), "%04d-%02u-%02u %02u:%02u:%02u", y,mo,da,hh,mm,ss);
  }

  uint32_t seq_sent = seq;
  const char* mode_str = (g_mode==MODE_MANUAL) ? "MANUAL" : "AUTO";

  int n = snprintf(json_no_crc, sizeof(json_no_crc),
    "{\"ver\":1,\"node\":\"%s\",\"type\":\"LOG\",\"seq\":%lu,"
    "\"time\":\"%s\",\"st\":\"%s\",\"hist\":0,\"mode\":\"%s\"}",
    NODE_ID_STR, (unsigned long)seq_sent, iso, ev, mode_str);
  if(n<=0 || n >= (int)sizeof(json_no_crc)) return;

  uint16_t crc = crc16_ccitt((const uint8_t*)json_no_crc, (size_t)n);

  char json_final[TX_ITEM_MAX];
  int m = snprintf(json_final, sizeof(json_final),
                   "%.*s,\"crc\":\"%04X\"}", n-1, json_no_crc, crc);
  if (m <= 0 || m >= (int)sizeof(json_final)) return;

  if (!txq_push(json_final, (uint16_t)strlen(json_final), seq_sent, ts_meta, LOG_TYPE_EVENT, 0)) {
    Log_Push((const uint8_t*)json_final, (uint16_t)strlen(json_final), LOG_TYPE_EVENT, ts_meta);
    cdc_send_line("[TXQ] full -> event pushed to FLASH");
  }
}

/*** Change detection policy ***/
static inline int changed_for_meas(void){
  if(isnan(snap_soil)   || fabsf(snap_soil - g_soil_percent) > 1.5f) return 1;
  if(isnan(snap_rainpct)|| fabsf(snap_rainpct - g_rain_percent)>10.0f) return 1;
  if(!dht_fault){
    if(isnan(snap_t)    || fabsf(snap_t - g_temp_c) > 0.8f) return 1;
    if(isnan(snap_rh)   || fabsf(snap_rh - g_rh)    > 3.0f) return 1;
  }
  if(snap_rain != (int)g_rain) return 1;
  if(snap_pump != (state==ST_WATERING)) return 1;
  if(snap_dht  != dht_fault) return 1;
  return 0;
}
static inline void snapshot_meas(void){
  snap_soil=g_soil_percent; snap_rainpct=g_rain_percent; snap_t=g_temp_c; snap_rh=g_rh;
  snap_rain=g_rain; snap_pump=(state==ST_WATERING); snap_dht=dht_fault;
}

static void heartbeat_kick_task(void){
  uint32_t now = now_ms();
  if (now >= next_hb_due){
#if ONLY_TX_ON_CHANGE
    if (changed_for_meas()) {
      send_meas_request(false);
      snapshot_meas();
    }
#else
    send_meas_request(false);
    snapshot_meas();
#endif
    next_hb_due = now + HEARTBEAT_MS + (rng_next() % HEARTBEAT_JITTER_MS);
  }
}

/*** FSM ***/
static uint8_t rh_allows_watering(void){
  if(dht_fault) return 1;
  if(isnan(g_rh)) return 1;
  return (g_rh < RH_BLOCK_TH) ? 1 : 0;
}
static void fsm_step(void){
  if (g_mode == MODE_MANUAL) {
    if (state == ST_WATERING && (now_ms() - t_onStart) > MAX_ON_TIME_MS) {
      RELAY_OFF(); t_coolStart = now_ms(); state = ST_COOLDOWN;
      send_event_request("SAFETY_MAX_ON");
    }
    return;
  }
  switch(state){
  case ST_IDLE:
    if(g_rain==1){ state=ST_RAIN_LOCK; t_rainStart=now_ms(); RELAY_OFF(); send_event_request("RAIN_LOCK"); break; }
    if(!isnan(g_soil_percent) && g_soil_percent<SOIL_ON_TH && rh_allows_watering()){
      RELAY_ON(); t_onStart=now_ms(); state=ST_WATERING; send_event_request("WATER_ON");
    }
    break;
  case ST_WATERING:
    if(g_rain==1 ||
       (!isnan(g_soil_percent) && g_soil_percent>SOIL_OFF_TH) ||
       (now_ms()-t_onStart)>MAX_ON_TIME_MS ||
       (now_ms()-t_onStart)>SOAK_ON_MS)
    { RELAY_OFF(); t_coolStart=now_ms(); state=ST_COOLDOWN; send_event_request("WATER_OFF"); }
    break;
  case ST_COOLDOWN:
    if(g_rain==1){ state=ST_RAIN_LOCK; t_rainStart=now_ms(); send_event_request("RAIN_LOCK"); break; }
    if((now_ms()-t_coolStart)>COOLDOWN_MS || (now_ms()-t_coolStart)>SOAK_OFF_MS)
      state=ST_IDLE;
    break;
  case ST_RAIN_LOCK:
    RELAY_OFF();
    if(g_rain==0 && (now_ms()-t_rainStart)>RAIN_LOCK_MS) { state=ST_IDLE; send_event_request("RAIN_CLEAR"); }
    break;
  }
}

/*** LEDs ***/
static void leds_update(void){
  if(state==ST_WATERING) LEDW_ON(); else LEDW_OFF();
  if(g_rain) LEDR_ON();
  else if(state==ST_RAIN_LOCK){ if(((now_ms()/500)%2)==0) LEDR_ON(); else LEDR_OFF(); }
  else LEDR_OFF();

  if (state == ST_WATERING) LED_PUMP_ON(); else LED_PUMP_OFF();
  if (g_mode == MODE_MANUAL) LED_MODE_ON(); else LED_MODE_OFF();
}

static void diag_dump_raw(void){
  uint16_t a0 = adc_read_avg(SOIL_ADC_CH, 32);
  uint16_t a1 = adc_read_avg(RAIN_ADC_CH, 32);
  char line[64];
  snprintf(line, sizeof(line), "RAW ADC: A0(Soil)=%u  A1(Rain)=%u", a0, a1);
  cdc_send_line(line);
}

static void RTC_SetOnce_IfNeeded(void){
  uint32_t magic = HAL_RTCEx_BKUPRead(&hrtc, RTC_BKP_DR1);
  if (magic == 0xBEEF) return;

  RTC_TimeTypeDef t = {0};
  RTC_DateTypeDef d = {0};
  t.Hours = 0; t.Minutes = 0; t.Seconds = 5;
  d.WeekDay = RTC_WEEKDAY_WEDNESDAY;
  d.Date = 1; d.Month = 1; d.Year = 25;
  HAL_RTC_SetTime(&hrtc, &t, RTC_FORMAT_BIN);
  HAL_RTC_SetDate(&hrtc, &d, RTC_FORMAT_BIN);
  HAL_RTCEx_BKUPWrite(&hrtc, RTC_BKP_DR1, 0xBEEF);
}

/* Buttons debounce */
typedef struct {
  uint8_t stable;
  uint8_t last_raw;
  uint32_t t_edge;
} btn_db_t;

static btn_db_t b_mode = {0,0,0}, b_pump = {0,0,0};
#define DEBOUNCE_MS 30u

static uint8_t debounce_step(btn_db_t *b, uint8_t raw_now){
  if (raw_now != b->last_raw){ b->last_raw = raw_now; b->t_edge = now_ms(); }
  if ((uint32_t)(now_ms() - b->t_edge) >= DEBOUNCE_MS){
    if (b->stable != raw_now){
      uint8_t prev = b->stable;
      b->stable = raw_now;
      return (prev == 0 && b->stable == 1);
    }
  }
  return 0;
}

static void buttons_task(void){
  if (debounce_step(&b_mode, BTN_MODE_PRESSED())){
    if (g_mode == MODE_AUTO){
      g_mode = MODE_MANUAL; t_last_cmd_ms = now_ms(); send_event_request("MODE_MANUAL_BTN");
    } else {
      g_mode = MODE_AUTO;   send_event_request("MODE_AUTO_BTN");
    }
  }

  if (g_mode == MODE_MANUAL && debounce_step(&b_pump, BTN_PUMP_PRESSED())){
    if (state == ST_WATERING){
      RELAY_OFF(); state = ST_COOLDOWN; t_coolStart = now_ms();
      send_event_request("PUMP_OFF_BTN");
    } else {
      RELAY_ON();  state = ST_WATERING; t_onStart = now_ms();
      send_event_request("PUMP_ON_BTN");
    }
    t_last_cmd_ms = now_ms();
  }
}

/* USER CODE END 0 */

int main(void)
{
  HAL_Init();
  SystemClock_Config();

  MX_GPIO_Init();
  MX_I2C1_Init();
  MX_I2C2_Init();
  MX_SPI1_Init();
  MX_USB_DEVICE_Init();
  MX_ADC1_Init();
  MX_SPI2_Init();
  MX_RTC_Init();
#if INIT_RTC_ONCE
  RTC_SetOnce_IfNeeded();
#endif

  DS3231_SetOnce_Safe();

  /* USER CODE BEGIN 2 */
  RELAY_OFF(); LEDW_OFF(); LEDR_OFF(); TXLED_OFF();

  lcd_boot();
  lora_init_params();
  log_rf_config();

  {
    struct tm t;
    if (ds3231_get_tm(&t)){
      char s[64];
      snprintf(s,sizeof(s),"DS3231: %04d-%02d-%02d %02d:%02d:%02d",
               1900+t.tm_year, t.tm_mon+1, t.tm_mday, t.tm_hour, t.tm_min, t.tm_sec);
      cdc_send_line(s);
    } else {
      cdc_send_line("DS3231: read fail");
    }
  }

  HAL_GPIO_WritePin(GPIOB, GPIO_PIN_12, GPIO_PIN_SET);
  W25Q_ForceSPI2_Mode0();
  W25Q_ReleasePowerDown();
  W25Q_Reset();
  g_w25_id = W25Q_ReadID();
  Log_Init();
  { char info[48]; snprintf(info,sizeof(info),"FLASH: JEDEC=0x%06lX", (unsigned long)g_w25_id); cdc_send_line(info); }

  flash_debug_head_once();

  update_rain_adc_debounce();
  update_soil_and_dht();
  lcd_show();
  snapshot_prev();

  txled_start(3,80,80);
  cdc_send_line("BOOT: Node B ready");

  /* seed RNG: uid + tick */
  rng_state ^= (uint32_t)HAL_GetUIDw0() ^ (uint32_t)HAL_GetUIDw1() ^ (uint32_t)HAL_GetUIDw2() ^ (now_ms()<<16);

  /* ========== LECH PHA NGAY TU DAU (KHAC NODE A) ========== */
  next_hb_due = now_ms()
              + hb_phase_offset_ms()
              + (rng_next() % HEARTBEAT_JITTER_MS);

  snapshot_meas();

  t_rain_last = now_ms();
  t_meas_last = now_ms();

#if DEBUG_RAW_EVERY_MS > 0
  t_dbg_last = now_ms();
#endif
#if FLASHDBG_HEAD_SUMMARY_EVERY_MS > 0
  t_flash_head_dbg_last = now_ms();
#endif
  /* USER CODE END 2 */

  while (1)
  {
    uint32_t now = now_ms();

    if ((uint32_t)(now - t_rain_last) >= (uint32_t)RAIN_SAMPLE_MS) {
      t_rain_last = now;
      update_rain_adc_debounce();
    }

    if ((uint32_t)(now - t_meas_last) >= 3000u) {
      t_meas_last = now;
      update_soil_and_dht();
      if (changed_enough()) { lcd_show(); snapshot_prev(); }
    }

#if DEBUG_RAW_EVERY_MS > 0
    if ((uint32_t)(now - t_dbg_last) >= (uint32_t)DEBUG_RAW_EVERY_MS) {
      t_dbg_last = now;
      diag_dump_raw();
    }
#endif

#if (FLASHDBG_HEAD_SUMMARY_EVERY_MS > 0)
    if ((uint32_t)(now - t_flash_head_dbg_last) >= FLASHDBG_HEAD_SUMMARY_EVERY_MS) {
      t_flash_head_dbg_last = now;
      if (!Log_Empty()) flash_debug_head_once();
      else cdc_send_line("[FLASH] queue empty");
    }
#endif

    heartbeat_kick_task();
    tx_task();

    if (g_mode == MODE_MANUAL && (now_ms() - t_last_cmd_ms) > MANUAL_TIMEOUT_MS) {
      g_mode = MODE_AUTO;
      send_event_request("MODE_AUTO_RESUME");
    }

    fsm_step();
    buttons_task();
    leds_update();
    txled_task();
  }
}

void SystemClock_Config(void)
{
  RCC_OscInitTypeDef RCC_OscInitStruct = {0};
  RCC_ClkInitTypeDef RCC_ClkInitStruct = {0};
  RCC_PeriphCLKInitTypeDef PeriphClkInit = {0};

  __HAL_RCC_PWR_CLK_ENABLE();
  __HAL_RCC_BKP_CLK_ENABLE();
  HAL_PWR_EnableBkUpAccess();

  RCC_OscInitStruct.OscillatorType   = RCC_OSCILLATORTYPE_HSE|RCC_OSCILLATORTYPE_LSE|RCC_OSCILLATORTYPE_HSI;
  RCC_OscInitStruct.HSEState         = RCC_HSE_ON;
  RCC_OscInitStruct.HSEPredivValue   = RCC_HSE_PREDIV_DIV1;
  RCC_OscInitStruct.LSEState         = RCC_LSE_ON;
  RCC_OscInitStruct.HSIState         = RCC_HSI_ON;
  RCC_OscInitStruct.PLL.PLLState     = RCC_PLL_ON;
  RCC_OscInitStruct.PLL.PLLSource    = RCC_PLLSOURCE_HSE;
  RCC_OscInitStruct.PLL.PLLMUL       = RCC_PLL_MUL9;
  if (HAL_RCC_OscConfig(&RCC_OscInitStruct) != HAL_OK) { Error_Handler(); }

  RCC_ClkInitStruct.ClockType      = RCC_CLOCKTYPE_HCLK|RCC_CLOCKTYPE_SYSCLK
                                   |RCC_CLOCKTYPE_PCLK1|RCC_CLOCKTYPE_PCLK2;
  RCC_ClkInitStruct.SYSCLKSource   = RCC_SYSCLKSOURCE_PLLCLK;
  RCC_ClkInitStruct.AHBCLKDivider  = RCC_SYSCLK_DIV1;
  RCC_ClkInitStruct.APB1CLKDivider = RCC_HCLK_DIV2;
  RCC_ClkInitStruct.APB2CLKDivider = RCC_HCLK_DIV1;
  if (HAL_RCC_ClockConfig(&RCC_ClkInitStruct, FLASH_LATENCY_2) != HAL_OK) { Error_Handler(); }

  PeriphClkInit.PeriphClockSelection = RCC_PERIPHCLK_RTC|RCC_PERIPHCLK_ADC|RCC_PERIPHCLK_USB;
  PeriphClkInit.AdcClockSelection    = RCC_ADCPCLK2_DIV6;
  PeriphClkInit.UsbClockSelection    = RCC_USBCLKSOURCE_PLL_DIV1_5;
  PeriphClkInit.RTCClockSelection    = RCC_RTCCLKSOURCE_LSE;
  if (HAL_RCCEx_PeriphCLKConfig(&PeriphClkInit) != HAL_OK) { Error_Handler(); }
}

void Error_Handler(void)
{
  __disable_irq();
  while (1) { }
}
